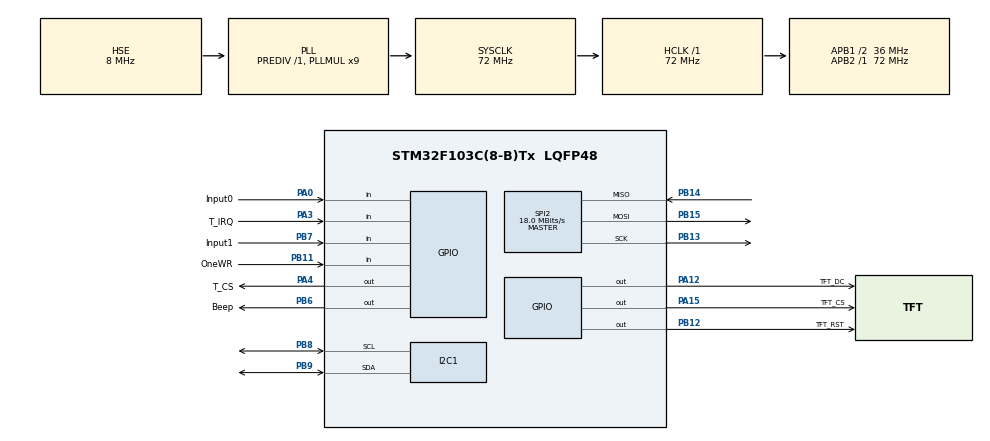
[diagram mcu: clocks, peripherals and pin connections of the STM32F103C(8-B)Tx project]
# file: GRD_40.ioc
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Mcu.Family=STM32F1
SPI2.VirtualType=VM_MASTER
PA3.GPIO_PuPd=GPIO_NOPULL
VP_RTC_VS_RTC_Activate.Mode=RTC_Enabled
PB6.GPIO_Label=Beep
NVIC.TIM1_UP_IRQn=true\:0\:0\:false\:false\:true\:true\:true
PB11.GPIO_PuPd=GPIO_PULLUP
PB11.Signal=GPIO_Input
PB13.Signal=SPI2_SCK
PB15.Signal=SPI2_MOSI
RCC.SYSCLKSource=RCC_SYSCLKSOURCE_PLLCLK
ProjectManager.StackSize=0x400
PD1-OSC_OUT.Signal=RCC_OSC_OUT
NVIC.RTC_IRQn=true\:0\:0\:false\:false\:true\:true\:true
PA15.GPIO_Label=TFT_CS
PA12.Signal=GPIO_Output
TIM1.Prescaler=719
RCC.HCLKFreq_Value=72000000
RCC.APB2TimFreq_Value=72000000
PB6.Signal=GPIO_Output
RCC.AHBFreq_Value=72000000
PA4.GPIO_PuPd=GPIO_PULLUP
RCC.PLLMUL=RCC_PLL_MUL9
PA4.GPIO_Speed=GPIO_SPEED_FREQ_HIGH
PB12.GPIO_Label=TFT_RST
PC14-OSC32_IN.Mode=LSE-External-Oscillator
PA14.Mode=Serial_Wire
PB14.Mode=Full_Duplex_Master
SPI2.CalculateBaudRate=18.0 MBits/s
PB7.Signal=GPIO_Input
VP_TIM1_VS_ClockSourceINT.Mode=Internal
PB7.GPIO_Label=Input1
PB9.Signal=I2C1_SDA
Mcu.Package=LQFP48
SPI2.Mode=SPI_MODE_MASTER
PA15.Signal=GPIO_Output
RCC.APB1TimFreq_Value=72000000
SPI2.Direction=SPI_DIRECTION_2LINES
TIM1.Period=999
PB13.Mode=Full_Duplex_Master
PA12.GPIO_PuPd=GPIO_NOPULL
PA4.GPIO_Label=T_CS
PA12.GPIO_Speed=GPIO_SPEED_FREQ_LOW
PA3.Signal=GPIO_Input
PB7.GPIO_PuPd=GPIO_PULLUP
RCC.PLLSourceVirtual=RCC_PLLSOURCE_HSE
PC15-OSC32_OUT.Mode=LSE-External-Oscillator
PD1-OSC_OUT.Mode=HSE-External-Oscillator
PB11.GPIO_Label=OneWR
PD0-OSC_IN.Signal=RCC_OSC_IN
RCC.APB1CLKDivider=RCC_HCLK_DIV2
PC14-OSC32_IN.Signal=RCC_OSC32_IN
PA12.GPIO_Label=TFT_DC
PA0-WKUP.GPIO_Label=Input0
PA0-WKUP.Signal=GPIO_Input
PA13.Signal=SYS_JTMS-SWDIO
ProjectManager.TargetToolchain=MDK-ARM V5
PB9.Mode=I2C
RCC.USBFreq_Value=72000000
PC15-OSC32_OUT.Signal=RCC_OSC32_OUT
PB12.GPIO_Speed=GPIO_SPEED_FREQ_HIGH
PD0-OSC_IN.Mode=HSE-External-Oscillator
PB14.Signal=SPI2_MISO
board=custom
PB15.Mode=Full_Duplex_Master
RCC.APB2Freq_Value=72000000
PA13.Mode=Serial_Wire
Mcu.Name=STM32F103C(8-B)Tx
PA4.Signal=GPIO_Output
RCC.SYSCLKFreq_VALUE=72000000
PA15.GPIO_Speed=GPIO_SPEED_FREQ_HIGH
PA14.Signal=SYS_JTCK-SWCLK
ProjectManager.HeapSize=0x200
NVIC.PriorityGroup=NVIC_PRIORITYGROUP_4
PB8.Mode=I2C
PA15.GPIO_PuPd=GPIO_PULLUP
PB8.Signal=I2C1_SCL
PA0-WKUP.GPIO_PuPd=GPIO_PULLUP
PB12.GPIO_PuPd=GPIO_PULLUP
RCC.APB1Freq_Value=36000000
VP_CRC_VS_CRC.Mode=CRC_Activate
PB12.Signal=GPIO_Output
PA3.GPIO_Label=T_IRQ

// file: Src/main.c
/* USER CODE BEGIN Header */
/**
  ******************************************************************************
  * @file           : main.c
  * @brief          : GRD 4.0 inch 22.01.2025
  ******************************************************************************
  *
  * Program Size: Code=31148 RO-data=11208 RW-data=232 ZI-data=2584
  * certutil -hashfile e:\!PROJECTS\!STM32\2025\GRD_40\MDK-ARM\GRD_40\GRD_40.hex SHA1
  * d4f86b9297aaa9c98f087b2d9cfff38c926e7753
  *
  ******************************************************************************
  */
/* USER CODE END Header */

#include "main.h"

/* USER CODE BEGIN Includes */
#include <stdio.h>
#include <stdlib.h>
#include "..\Lib\st7796\myLCD.h"
#include "..\Lib\st7796\myGUI.h"
#include "..\Lib\Touch\XPT2046_touch.h"
#include "..\Lib\ds18b20\ds18b20.h"
#include "tft_proc.h"
#include "procedure.h"
#include "displ.h"
#include "nvRam.h"

/* USER CODE END Includes */

CRC_HandleTypeDef hcrc;

I2C_HandleTypeDef hi2c1;

RTC_HandleTypeDef hrtc;

SPI_HandleTypeDef hspi2;

TIM_HandleTypeDef htim1;

/* USER CODE BEGIN PV */
RTC_TimeTypeDef sTime;
RTC_DateTypeDef sDate;

char buffTFT[40];
const char* modeName[4]={"СУШЫННЯ","ОБЖАРКА","ВАРЫННЯ","КОПЧЕННЯ"};
const char* setName[MAX_SET]={"t КАМЕРИ","t ПРОДУКТА","t ДИМА","ТРИВАЛЫСТЬ","ШВИДКЫСТЬ","ТАЙМ.ON","ТАЙМ.OFF","ЫНШЕ"};
const char* otherName[MAX_OTHER]={"ПРОДУВАННЯ","АВАРЫЯ","ГЫСТЕРЕЗ","ОХОЛОДЖ.","Prop","Integ","Diff"};
const char* relayName[7]={"ПЫД","НАГРЫВ","ТАЙМЕР","ВОЛОГА","ЕЛЕКТРО","Кл.ДИМА","Кл.ВОДИ"};
//const char* analogName[2]={"ВЕНТИЛ.","ЫНШЕ"};
//        2.00V        3.15V        4.30V        5.45V        6.60V        7.75V        8.90V        10.00V
//={{1000,0x2F4},{1200,0x4A6},{1400,0x658},{1600,0x80A},{1800,0x9BC},{2000,0xB6E},{2200,0xD20},{2400,0xFFF}};//d=434->1.15V
//={{1000,0x2F4},{1200,0x4A6},{1400,0x655},{1600,0x804},{1800,0x9B6},{2000,0xB65},{2200,0xD14},{2400,0xFFF}};//d=434+коррекция
struct Ds ds;
uint16_t speedData[MAX_SPEED][2], errors;
int16_t pvTH, pvRH, tmrCounter;
uint16_t set[INDEX], touch_x, touch_y, Y_str, X_left, Y_top, Y_bottom, fillScreen, color0, color1, checkTime, checkSmoke;
uint8_t displ_num=0, modeCell, oldNumSet, buttonAmount, lost;
uint8_t timer10ms, tmrVent, ticBeep, pwTriac, invers, dsplPW;
uint8_t familycode[MAX_SENSOR][8];
int8_t ds18b20_amount, numSet=0, resetDispl=0, tmrWater;
int8_t relaySet[8]={-1,-1,-1,-1,-1,-1,-1,-1};
int8_t analogSet[2]={-1,-1};
uint8_t analogOut[2]={0};
union Byte portFlag;
union Byte relayOut;
PIDController pid;
//#ifdef MANUAL_CHECK
  float flT0=320, dpv0;
//#endif
/* USER CODE END PV */

void SystemClock_Config(void);
static void MX_GPIO_Init(void);
static void MX_I2C1_Init(void);
static void MX_RTC_Init(void);
static void MX_TIM1_Init(void);
static void MX_CRC_Init(void);
static void MX_SPI2_Init(void);

/* USER CODE BEGIN 0 */
//-------- Обратный вызов с истекшим периодом --------------
void HAL_TIM_PeriodElapsedCallback(TIM_HandleTypeDef *htim){
  if(htim->Instance == TIM1){ //check if the interrupt comes from TIM1 (10 ms)
    checkTime++; timer10ms++;
    if(pwTriac) --pwTriac; else {
      TRIAC = OFF;                    // отключить (SSR-25DA)
      invers = ~relayOut.value;
      HAL_I2C_Master_Transmit(&hi2c1,0x4E,&invers,1,1000);
    }
    if(ticBeep){ --ticBeep; HAL_GPIO_WritePin(Beep_GPIO_Port, Beep_Pin, GPIO_PIN_SET);}// индикация нажатия
    else {HAL_GPIO_WritePin(Beep_GPIO_Port, Beep_Pin, GPIO_PIN_RESET);}
  }
}

/* USER CODE END 0 */

int main(void)
{
  /* USER CODE BEGIN 1 */
  int16_t i16;
  uint16_t u16;
//  uint8_t temp=0, pvspeed=0;
  /* USER CODE END 1 */

  /* MCU Configuration--------------------------------------------------------*/

  /* Reset of all peripherals, Initializes the Flash interface and the Systick. */
  HAL_Init();

  /* Configure the system clock */
  SystemClock_Config();

  /* Initialize all configured peripherals */
  MX_GPIO_Init();
  MX_I2C1_Init();
  MX_RTC_Init();
  MX_TIM1_Init();
  MX_CRC_Init();
  MX_SPI2_Init();
  /* USER CODE BEGIN 2 */
  u16 = sendToI2c(0);//  отключение вентилятора

  HAL_GPIO_WritePin(Beep_GPIO_Port, Beep_Pin, GPIO_PIN_SET);
  HAL_Delay(200);
  HAL_GPIO_WritePin(Beep_GPIO_Port, Beep_Pin, GPIO_PIN_RESET);

  fillScreen = BLACK; color0 = WHITE;
  Y_bottom=lcddev.height-22; Y_str = 5;
  LCD_Init(USE_VERTICAL0);
  GUI_Clear(fillScreen);
  if((lcddev.dir&1)==0) X_left = 20; else X_left = 100;
  GUI_WriteString(35, Y_str, "GRD Max", Font_16x26, WHITE, fillScreen);
  GUI_WriteString(165, Y_str+5, " v 4.1", Font_11x18, WHITE, fillScreen);
  Y_str = Y_str+18+35;

  i16 = initData();
  ds18b20_port_init();      // линия 1-Wire
  ds18b20_checkSensor(4);   // check DS18B20 sensors

  switch (i16){
  	case 0: GUI_WriteString(5, Y_str, "Ыныцыалызацыя успышна.", Font_11x18, GREEN, BLACK);	break;
  	case 1: GUI_WriteString(5, Y_str, "Первинна ыныцыалызацыя.", Font_11x18, YELLOW, BLACK);	break;
    case 3: GUI_WriteString(5, Y_str, "Помилки читання FLASH!", Font_11x18, YELLOW, RED);	break;
  	default:GUI_WriteString(5, Y_str, "Невыдома помилка!", Font_11x18, MAGENTA, BLACK);	break;
  }
  Y_str = Y_str+18+5;

  if(i16){
    sprintf(buffTFT,"Check sum: 0x%08X",dataRAM.config.checkSum);
    GUI_WriteString(5, Y_str, buffTFT, Font_11x18, WHITE, BLACK);
    Y_str = Y_str+18+5;
    sprintf(buffTFT,"Number of saves: %u",dataRAM.config.countSave);
    GUI_WriteString(5, Y_str, buffTFT, Font_11x18, WHITE, BLACK);
    Y_str = Y_str+18+5;
    HAL_Delay(1000);
  }
  //---------------------------- линия 1-Wire -----------------------------------
  if(ds18b20_amount){
    for(uint8_t i=0;i<ds18b20_amount;i++) ds.pvT[i]=1999;
    ds18b20_Convert_T();
  }
  sprintf(buffTFT,"Датчикыв температури: %d шт.",ds18b20_amount);
  GUI_WriteString(5, Y_str, buffTFT, Font_11x18, CYAN, BLACK);
  Y_str = Y_str+18+5;

  HAL_GPIO_WritePin(Beep_GPIO_Port, Beep_Pin, GPIO_PIN_SET);
  HAL_Delay(200);
  HAL_GPIO_WritePin(Beep_GPIO_Port, Beep_Pin, GPIO_PIN_RESET);
  HAL_Delay(200);
  HAL_GPIO_WritePin(Beep_GPIO_Port, Beep_Pin, GPIO_PIN_SET);
  HAL_Delay(200);
  HAL_GPIO_WritePin(Beep_GPIO_Port, Beep_Pin, GPIO_PIN_RESET);

  HAL_RTCEx_SetSecond_IT(&hrtc);          /* ------  таймер 1Гц.  период  1 сек.    ----*/
  HAL_TIM_Base_Start_IT(&htim1);          /* ------  таймер 100Гц.  период  10 мс.  ----*/

  NEWBUTT = ON;
  #ifdef MANUAL_CHECK
      sprintf(buffTFT,"WIDTH: %u; HEIGHT: %u",lcddev.width,lcddev.height);
      GUI_WriteString(5, Y_str, buffTFT, Font_11x18, YELLOW, BLACK);
      Y_str = Y_str+18+5;
      sprintf(buffTFT,"Kp=%3u; Ki=%2.2f; Kd=%3u;",pid.Kp,pid.Ki,pid.Kd);
      GUI_WriteString(5, Y_str, buffTFT, Font_11x18, YELLOW, BLACK);
      Y_str = Y_str+18+5;
      ds.pvT[1]=220; ds.pvT[2]=150; ds.pvT[3]=200;
      int8_t dpv1 = 2, dpv2 = 2, dpv3 = 2, count;

  #endif
  HAL_Delay(2000);
  /* USER CODE END 2 */

  /* Infinite loop */
  /* USER CODE BEGIN WHILE */
  while (1)
  {
    Y_str = 5; X_left = 5;
    //-------------------------- ТАЧСКРИН ---------------------------------------
    if(XPT2046_TouchPressed()&& checkTime>40){
      uint8_t butt_num;
      if(XPT2046_TouchGetCoordinates(&touch_x, &touch_y)){
        for (butt_num=0; butt_num<buttonAmount; butt_num++){
            if(contains(touch_x, touch_y, butt_num)) break; // проверка попадания новой координаты в область кнопки
        }
      }
      checkButtons(butt_num);                           // проверка нажатой кнопки
      checkTime = 0; CHECK = ON;
    }

    // ----------- УВЛАЖНИТЕЛЬ только в режиме варка modeCell==2 и TMON && TMOFF !=0 --------------------
    if(WORK && modeCell==2){
      if(set[TMON]!=0 && set[TMOFF]!=0){
        if(timer10ms){                  // шаг отсчета интервала таймера 10 милисек.
          timer10ms=0;
          HUMIDI=humidifier(HUMIDI);    // проверим выход на увлажнитель
          invers = ~relayOut.value;
          HAL_I2C_Master_Transmit(&hi2c1,0x4E,&invers,1,1000);
        }
      }
    }

    //-------------- Начало проверки каждую 1 сек. -----------------------
    if(CHECK){ CHECK = OFF; errors=0;  //if(++temp>10) {temp=0; ++pvspeed; pvspeed&=7; ds.pvT[1] = speedData[pvspeed][0]; sendToI2c(speedData[pvspeed][1]);}
    dsplPW = 0;
    if(resetDispl) --resetDispl; else if(displ_num){displ_num = 0; NEWBUTT = 1;}  // возврат к главному дисплею
    #ifndef MANUAL_CHECK
      temperature_check();
    #endif
      //---------------------------------- Проверка работы вентилятора -------------------------------------
      if(VENTIL){
        if(HAL_GPIO_ReadPin(Input0_GPIO_Port, Input0_Pin) == GPIO_PIN_RESET) {SPEED=ON; tmrVent=0;} // если контакт замкнут
        else SPEED=OFF;
    #ifdef MANUAL_CHECK
        SPEED=ON; tmrVent=0;
    #endif
        if(tmrVent) --tmrVent;    // ожидаем замыкания контакта частотного преобразователя
        else if(SPEED) WORK=ON;
        else {errors |= ERR8; WORK=OFF; relayOut.value=OFF;}  // НЕ ПРАЦЮЭ ВЕНТИЛЯТОР
      }
      //------------------------------------------- В РАБОТЕ -----------------------------------------------
      if(WORK){
        TIMER=ON;         // всегда включен в работу
        if(modeCell==2){  // только в режиме варка modeCell==2
          if(HAL_GPIO_ReadPin(Input1_GPIO_Port, Input1_Pin) == GPIO_PIN_RESET){
            if(++tmrWater>5) {tmrWater=5; WATER=ON;}
          }
          else {
            if(--tmrWater<0) {tmrWater=0; WATER=OFF;}
          }
        }
        else WATER=OFF;
        //------------ устанавливаем color0 в соответсвии с отклонением ------------------------
        i16 = set[T0]*10 - ds.pvT[0];           // величина ошибки регулирования датчика 0
        uint16_t abs16 = abs(i16);
        if(abs16<set[HIST]) PERFECT=ON;         // Вышли на заданную температуру
        u16 = set[ALRM]*10;                     // привяжем к аварии

        if(i16<=0){
          if(abs16<u16) color0 = GREEN;         // норма
          else if(abs16>=u16 && abs16<u16*2){errors|=ERR5; color0 = MAGENTA;} // ВІДХІЛЕННЯ ТЕМПЕРАТУРИ
          else {errors|=ERR3; color0 = RED;}    // ПЕРЕГРЕВ В КАМЕРЕ
        }
        else {
          if(abs16<u16) color0 = GREEN;         // норма
          else if(abs16>=u16*2){
            color0 = CYAN;                      // НИЖЕ нормы
            if(PERFECT) errors|=ERR5;           // ВІДХІЛЕННЯ ТЕМПЕРАТУРИ
          }
        }

        //------------ устанавливаем color1 в соответсвии с отклонением -------------------------
        i16 = set[T1]*10 - ds.pvT[1];           // величина ошибки регулирования датчика 1
        abs16 = abs(i16);

        if(i16<=0){
          if(abs16<u16/2)color1 = GREEN;        // норма
          else if(abs16>=u16/2 && abs16<u16) color1 = MAGENTA;  // ВІДХІЛЕННЯ ТЕМПЕРАТУРИ
          else {errors|=ERR4; color1 = RED;}    // ПЕРЕГРЕВ В ПРОДУКТЕ
        }
        else {
          if(abs16<u16/2)color1 = GREEN;        // норма
          else if(abs16>=u16) color1 = CYAN;    // НИЖЕ нормы
        }

        // ---------------------------------------- НАГРЕВАТЕЛЬ / ОХЛАДИТЕЛЬ -------------------------------------
        //------ работает как нагреватель
        if(ds.pvT[0]<1999 && ds.pvT[0]>1){
          i16 = Relay(set[T0]*10 - ds.pvT[0], set[HIST]);   // величина ошибки температуры воздуха
          pwTriac = UpdatePID(&pid,0);                      // ПИД нагреватель
        }
        if(ds18b20_amount>1 && ds.pvT[1]<1999){             // величина ошибки температурs среды
          if(i16==ON) i16 = Relay(set[T1]*10 - ds.pvT[1], set[HIST]/2);
//          if(i16==OFF) pwTriac = OFF;                       // температура среды достигла заданной величины
        }
        dsplPW = pwTriac;
        if(pwTriac) TRIAC = ON;                             // включить (SSR-25DA)
        //------ работает как охладитель
        if(set[CHILL]&1){
          i16 = Relay(ds.pvT[0] - set[T0]*10, set[HIST]);
          if(ds.pvT[0] > BEGINCOOL) i16 = OFF;              // температура выше которой ЗАПРЕЩЕНО включение охлаждения
        }
        switch (i16){
          case ON:  HEATER = ON;  break;
          case OFF: HEATER = OFF; break;
        }

        //-------------------------- Только для режима КОПЧЕНИЯ ---------------------------------
        if(modeCell==3){
          ELECTRO = ignition(ELECTRO);
          i16 = set[T2]*10 - ds.pvT[2];   // величина ошибки регулирования датчика 2 (Дым)
          if(++checkSmoke>CHKSMOKE){      // (відхилення 2 грд.Ц) ТЕМПЕРАТУРЫ ДЫМА
            checkSmoke=CHKSMOKE;
            if(abs(i16)>set[ALRM]*10*2) errors|=ERR6;
          }
          u16 = Relay(i16, set[HIST]);  // величина ошибки температуры дыма
          switch (u16){
            case ON:  SMOKE = ON;  break;
            case OFF: SMOKE = OFF; break;
          }
        }

        //-------------------------- Только для режима ВАРЕНИЯ ---------------------------------
        if(modeCell==2){
          if(set[TMON]==0 || set[TMOFF]==0){
            i16 = set[T3]*10 - ds.pvT[3];     // величина ошибки регулирования датчика 3 (Влажность)
            u16 = Relay(i16, set[HIST]);      // ЧЕТВЕРТЫЙ датчик - датчик влажности
            if(ds.pvT[0] < BEGINHUM) u16=OFF; // запрет увлажнения при температуре ниже 40 грд.
            switch (u16){
              case ON:  HUMIDI = ON;  break;
              case OFF: HUMIDI = OFF; break;
            }
          }
        }
//        else HUMIDI = OFF;

#ifdef MANUAL_CHECK
        //?????? Програмное задание температур ??????????
        count++;
        //-----температура воздуха------
        dpv0 = (float)pid.pPart/500 + (float)(pid.output-5)/100;
        flT0+=dpv0;
        ds.pvT[0] = flT0;
        int16_t pverr = set[T0]*10 - ds.pvT[0];
        //----температура среды------
        if(count>3){ count=0;
          pverr = set[T1]*10 - ds.pvT[1];
          dpv1 =-1;
          if(pverr>200) dpv1 = 6;
          else if(pverr>100) dpv1 = 4;
          else if(pverr>50) dpv1 = 2;
          else if(pverr>10) dpv1 = 1;
          ds.pvT[1]+=dpv1;
        }
        //-----температура дыма---------
        pverr = set[T2]*10 - ds.pvT[2];
        if(pverr>50) dpv2 = 5;
        else if(pverr>25) dpv2 = 1;
        else if(pverr<-25) dpv2 = -1;
        if(i16==OFF) dpv2=0;
        ds.pvT[2]+=dpv2;
        //----влажный датчик--------
        pverr = set[T3]*10 - ds.pvT[3];
        if(pverr>150) dpv3 = 5;
        else if(HUMIDI==ON) dpv3 = 1;
        else if(HUMIDI==OFF) dpv3 = -1;
        ds.pvT[3]+=dpv3;
        //????????????????????????????????????????????????
#endif

        //------------------------- ЗВЕРШЕНИЕ текущего режима ----------------------------------
        if(set[TMR0]>0){                                // если TMR0>0 то завершение режима по таймеру
          u16 = sTime.Hours*60 + sTime.Minutes;         // всего в минутах
          i16 = (set[TMR0] - u16)*60 - sTime.Seconds;   // осталось до выключения в секундах
          if(i16<30) ticBeep = 5;                       // включить сигнал
          if(i16<=0){                                   // завершение режима
            portFlag.value = OFF; PURGING=ON; relayOut.value=OFF; ticBeep=200;
            //------- далее продувка ---------
              sTime.Hours=0; sTime.Minutes=0; sTime.Seconds=0;
              HAL_RTC_SetTime(&hrtc, &sTime, RTC_FORMAT_BIN);
          }
        }
        else if(ds18b20_amount==1){      // если только 1 датчик и продолжительность 0 то завершение по температуре камеры.
          i16 = Relay(set[T0]*10 - ds.pvT[0], 0);   // температура камеры
          if(i16==OFF){
            portFlag.value = OFF; PURGING=ON; relayOut.value=OFF; ticBeep=200;
            //------- далее продувка ---------
            sTime.Hours=0; sTime.Minutes=0; sTime.Seconds=0;
            HAL_RTC_SetTime(&hrtc, &sTime, RTC_FORMAT_BIN);
          }
        }
        else if(ds18b20_amount>1){      // если датчиков много и продолжительность 0 то завершение по температуре среды.
          i16 = Relay(set[T1]*10 - ds.pvT[1], 0);   // температура камеры
          if(i16==OFF){
            portFlag.value = OFF; PURGING=ON; relayOut.value=OFF; ticBeep=200;
            //------- далее продувка ---------
            sTime.Hours=0; sTime.Minutes=0; sTime.Seconds=0;
            HAL_RTC_SetTime(&hrtc, &sTime, RTC_FORMAT_BIN);
          }
        }

      } //--------------------------- КОНЕЦ в работе -----------------------------------------------
      else if(PURGING){
        u16 = sTime.Minutes*60+sTime.Seconds;           // всего в секундах
        if(u16>=set[TMR1]) {PURGING=OFF; sendToI2c(0); NEWBUTT=ON; ticBeep=200;}
      }
      //------ Проверка на ручное управление ---------------------------------------
      for (i16=0;i16<7;i16++){
          if(relaySet[i16]==1) relayOut.value |= (1<<(i16)); // ручной On
          if(relaySet[i16]==0) relayOut.value &= ~(1<<(i16));// ручной Off
      }
      invers = ~relayOut.value;
      HAL_I2C_Master_Transmit(&hi2c1,0x4E,&invers,1,1000);
//      for (i16=0;i16<2;i16++){  // ручное управление аналоговыми выводами
//        if(analogSet[i16]>-1) analogOut[i16]=analogSet[i16];
//      }
      if(errors && (set[CHILL]&2)==0){    // 2-отключены аварийные звуковые сигналы
        switch (errors){
          case 0x01: ticBeep = 80; break; // ПОМИЛКА ДАТЧИКА N1
          case 0x02: ticBeep = 80; break; // ПОМИЛКА ДАТЧИКА N2
          case 0x04: ticBeep = 80; break; // ПОМИЛКА ДАТЧИКА N3
          case 0x08: ticBeep = 80; break; // ПОМИЛКА ДАТЧИКА N4
          case ERR3: ticBeep = 80; break; // ПЕРЕГРЫВ В КАМЕРI
          case ERR4: ticBeep =120; break; // ПЕРЕГРЫВ В ПРОДУКТI
          case ERR5: ticBeep = 10; break; // ВЫДХЫЛЕННЯ ТЕМПЕРАТУРИ
          case ERR6: ticBeep = 20; break; // ВЫДХЫЛЕННЯ ТЕМПЕРАТУРИ ДИМA
          case ERR7: ticBeep = 60; break; //
          case ERR8: ticBeep = 60; break; // НЕ ПРАЦЮЭ ВЕНТИЛЯТОР
          default:
            if(errors==0x0C) ticBeep = 80;
            else ticBeep =200;
          break;
        }
      }
      if(errors) ALARM = ON; else ALARM = OFF;  // световой сигнал ошибки

      display();
    }
    /* USER CODE END WHILE */

  }
}

void SystemClock_Config(void)
{
  RCC_OscInitTypeDef RCC_OscInitStruct = {0};
  RCC_ClkInitTypeDef RCC_ClkInitStruct = {0};
  RCC_PeriphCLKInitTypeDef PeriphClkInit = {0};

  /** Initializes the CPU, AHB and APB busses clocks
  */
  RCC_OscInitStruct.OscillatorType = RCC_OSCILLATORTYPE_LSI|RCC_OSCILLATORTYPE_HSE;
  RCC_OscInitStruct.HSEState = RCC_HSE_ON;
  RCC_OscInitStruct.HSEPredivValue = RCC_HSE_PREDIV_DIV1;
  RCC_OscInitStruct.HSIState = RCC_HSI_ON;
  RCC_OscInitStruct.LSIState = RCC_LSI_ON;
  RCC_OscInitStruct.PLL.PLLState = RCC_PLL_ON;
  RCC_OscInitStruct.PLL.PLLSource = RCC_PLLSOURCE_HSE;
  RCC_OscInitStruct.PLL.PLLMUL = RCC_PLL_MUL9;
  if (HAL_RCC_OscConfig(&RCC_OscInitStruct) != HAL_OK)
  {
    Error_Handler();
  }
  /** Initializes the CPU, AHB and APB busses clocks
  */
  RCC_ClkInitStruct.ClockType = RCC_CLOCKTYPE_HCLK|RCC_CLOCKTYPE_SYSCLK
                              |RCC_CLOCKTYPE_PCLK1|RCC_CLOCKTYPE_PCLK2;
  RCC_ClkInitStruct.SYSCLKSource = RCC_SYSCLKSOURCE_PLLCLK;
  RCC_ClkInitStruct.AHBCLKDivider = RCC_SYSCLK_DIV1;
  RCC_ClkInitStruct.APB1CLKDivider = RCC_HCLK_DIV2;
  RCC_ClkInitStruct.APB2CLKDivider = RCC_HCLK_DIV1;

  if (HAL_RCC_ClockConfig(&RCC_ClkInitStruct, FLASH_LATENCY_2) != HAL_OK)
  {
    Error_Handler();
  }
  PeriphClkInit.PeriphClockSelection = RCC_PERIPHCLK_RTC;
  PeriphClkInit.RTCClockSelection = RCC_RTCCLKSOURCE_LSI;
  if (HAL_RCCEx_PeriphCLKConfig(&PeriphClkInit) != HAL_OK)
  {
    Error_Handler();
  }
}

static void MX_CRC_Init(void)
{

  hcrc.Instance = CRC;
  if (HAL_CRC_Init(&hcrc) != HAL_OK)
  {
    Error_Handler();
  }

}

static void MX_I2C1_Init(void)
{

  hi2c1.Instance = I2C1;
  hi2c1.Init.ClockSpeed = 100000;
  hi2c1.Init.DutyCycle = I2C_DUTYCYCLE_2;
  hi2c1.Init.OwnAddress1 = 0;
  hi2c1.Init.AddressingMode = I2C_ADDRESSINGMODE_7BIT;
  hi2c1.Init.DualAddressMode = I2C_DUALADDRESS_DISABLE;
  hi2c1.Init.OwnAddress2 = 0;
  hi2c1.Init.GeneralCallMode = I2C_GENERALCALL_DISABLE;
  hi2c1.Init.NoStretchMode = I2C_NOSTRETCH_DISABLE;
  if (HAL_I2C_Init(&hi2c1) != HAL_OK)
  {
    Error_Handler();
  }

}

static void MX_RTC_Init(void)
{

  /** Initialize RTC Only
  */
  hrtc.Instance = RTC;
  hrtc.Init.AsynchPrediv = RTC_AUTO_1_SECOND;
  hrtc.Init.OutPut = RTC_OUTPUTSOURCE_ALARM;
  if (HAL_RTC_Init(&hrtc) != HAL_OK)
  {
    Error_Handler();
  }

}

static void MX_SPI2_Init(void)
{

  /* SPI2 parameter configuration*/
  hspi2.Instance = SPI2;
  hspi2.Init.Mode = SPI_MODE_MASTER;
  hspi2.Init.Direction = SPI_DIRECTION_2LINES;
  hspi2.Init.DataSize = SPI_DATASIZE_8BIT;
  hspi2.Init.CLKPolarity = SPI_POLARITY_LOW;
  hspi2.Init.CLKPhase = SPI_PHASE_1EDGE;
  hspi2.Init.NSS = SPI_NSS_SOFT;
  hspi2.Init.BaudRatePrescaler = SPI_BAUDRATEPRESCALER_2;
  hspi2.Init.FirstBit = SPI_FIRSTBIT_MSB;
  hspi2.Init.TIMode = SPI_TIMODE_DISABLE;
  hspi2.Init.CRCCalculation = SPI_CRCCALCULATION_DISABLE;
  hspi2.Init.CRCPolynomial = 10;
  if (HAL_SPI_Init(&hspi2) != HAL_OK)
  {
    Error_Handler();
  }

}

static void MX_TIM1_Init(void)
{

  TIM_ClockConfigTypeDef sClockSourceConfig = {0};
  TIM_MasterConfigTypeDef sMasterConfig = {0};

  htim1.Instance = TIM1;
  htim1.Init.Prescaler = 719;
  htim1.Init.CounterMode = TIM_COUNTERMODE_UP;
  htim1.Init.Period = 999;
  htim1.Init.ClockDivision = TIM_CLOCKDIVISION_DIV1;
  htim1.Init.RepetitionCounter = 0;
  htim1.Init.AutoReloadPreload = TIM_AUTORELOAD_PRELOAD_DISABLE;
  if (HAL_TIM_Base_Init(&htim1) != HAL_OK)
  {
    Error_Handler();
  }
  sClockSourceConfig.ClockSource = TIM_CLOCKSOURCE_INTERNAL;
  if (HAL_TIM_ConfigClockSource(&htim1, &sClockSourceConfig) != HAL_OK)
  {
    Error_Handler();
  }
  sMasterConfig.MasterOutputTrigger = TIM_TRGO_RESET;
  sMasterConfig.MasterSlaveMode = TIM_MASTERSLAVEMODE_DISABLE;
  if (HAL_TIMEx_MasterConfigSynchronization(&htim1, &sMasterConfig) != HAL_OK)
  {
    Error_Handler();
  }

}

static void MX_GPIO_Init(void)
{
  GPIO_InitTypeDef GPIO_InitStruct = {0};

  /* GPIO Ports Clock Enable */
  __HAL_RCC_GPIOC_CLK_ENABLE();
  __HAL_RCC_GPIOD_CLK_ENABLE();
  __HAL_RCC_GPIOA_CLK_ENABLE();
  __HAL_RCC_GPIOB_CLK_ENABLE();

  /*Configure GPIO pin Output Level */
  HAL_GPIO_WritePin(GPIOA, T_CS_Pin|TFT_DC_Pin|TFT_CS_Pin, GPIO_PIN_RESET);

  /*Configure GPIO pin Output Level */
  HAL_GPIO_WritePin(GPIOB, TFT_RST_Pin|Beep_Pin, GPIO_PIN_RESET);

  /*Configure GPIO pin : Input0_Pin */
  GPIO_InitStruct.Pin = Input0_Pin;
  GPIO_InitStruct.Mode = GPIO_MODE_INPUT;
  GPIO_InitStruct.Pull = GPIO_PULLUP;
  HAL_GPIO_Init(Input0_GPIO_Port, &GPIO_InitStruct);

  /*Configure GPIO pin : T_IRQ_Pin */
  GPIO_InitStruct.Pin = T_IRQ_Pin;
  GPIO_InitStruct.Mode = GPIO_MODE_INPUT;
  GPIO_InitStruct.Pull = GPIO_NOPULL;
  HAL_GPIO_Init(T_IRQ_GPIO_Port, &GPIO_InitStruct);

  /*Configure GPIO pins : T_CS_Pin TFT_CS_Pin */
  GPIO_InitStruct.Pin = T_CS_Pin|TFT_CS_Pin;
  GPIO_InitStruct.Mode = GPIO_MODE_OUTPUT_PP;
  GPIO_InitStruct.Pull = GPIO_PULLUP;
  GPIO_InitStruct.Speed = GPIO_SPEED_FREQ_HIGH;
  HAL_GPIO_Init(GPIOA, &GPIO_InitStruct);

  /*Configure GPIO pins : OneWR_Pin Input1_Pin */
  GPIO_InitStruct.Pin = OneWR_Pin|Input1_Pin;
  GPIO_InitStruct.Mode = GPIO_MODE_INPUT;
  GPIO_InitStruct.Pull = GPIO_PULLUP;
  HAL_GPIO_Init(GPIOB, &GPIO_InitStruct);

  /*Configure GPIO pin : TFT_RST_Pin */
  GPIO_InitStruct.Pin = TFT_RST_Pin;
  GPIO_InitStruct.Mode = GPIO_MODE_OUTPUT_PP;
  GPIO_InitStruct.Pull = GPIO_PULLUP;
  GPIO_InitStruct.Speed = GPIO_SPEED_FREQ_HIGH;
  HAL_GPIO_Init(TFT_RST_GPIO_Port, &GPIO_InitStruct);

  /*Configure GPIO pin : TFT_DC_Pin */
  GPIO_InitStruct.Pin = TFT_DC_Pin;
  GPIO_InitStruct.Mode = GPIO_MODE_OUTPUT_PP;
  GPIO_InitStruct.Pull = GPIO_NOPULL;
  GPIO_InitStruct.Speed = GPIO_SPEED_FREQ_LOW;
  HAL_GPIO_Init(TFT_DC_GPIO_Port, &GPIO_InitStruct);

  /*Configure GPIO pin : Beep_Pin */
  GPIO_InitStruct.Pin = Beep_Pin;
  GPIO_InitStruct.Mode = GPIO_MODE_OUTPUT_PP;
  GPIO_InitStruct.Pull = GPIO_NOPULL;
  GPIO_InitStruct.Speed = GPIO_SPEED_FREQ_LOW;
  HAL_GPIO_Init(Beep_GPIO_Port, &GPIO_InitStruct);

}

void Error_Handler(void)
{
}

/************************ (C) COPYRIGHT STMicroelectronics *****END OF FILE****/
